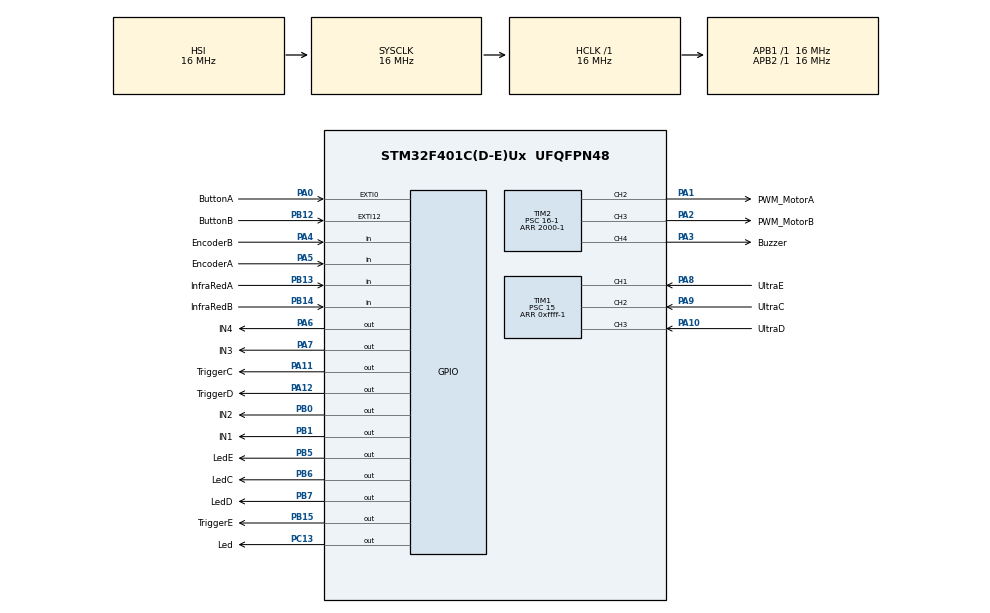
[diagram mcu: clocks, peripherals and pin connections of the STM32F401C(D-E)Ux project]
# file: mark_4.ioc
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FREERTOS.Tasks01=Estado1,3,128,StartEstado1,Default,NULL,Dynamic,NULL,NULL;Estado2,3,128,StartEstado2,Default,NULL,Dynamic,NULL,NULL;Estado3,3,128,StartEstado3,Default,NULL,Dynamic,NULL,NULL
FREERTOS.configUSE_NEWLIB_REENTRANT=1
Mcu.Family=STM32F4
Mcu.Name=STM32F401C(D-E)Ux
Mcu.Package=UFQFPN48
NVIC.EXTI0_IRQn=true\:5\:0\:false\:false\:true\:true\:true\:true\:true
NVIC.PriorityGroup=NVIC_PRIORITYGROUP_4
NVIC.TIM1_CC_IRQn=true\:5\:0\:false\:false\:true\:true\:true\:true\:true
NVIC.TIM3_IRQn=true\:15\:0\:false\:false\:true\:false\:false\:true\:true
NVIC.TimeBase=TIM3_IRQn
NVIC.TimeBaseIP=TIM3
PA0-WKUP.GPIO_Label=ButtonA
PA0-WKUP.GPIO_ModeDefaultEXTI=GPIO_MODE_IT_RISING
PA0-WKUP.Signal=GPXTI0
PA1.GPIO_Label=PWM_MotorA
PA1.Signal=S_TIM2_CH2
PA10.GPIO_Label=UltraD
PA10.Signal=S_TIM1_CH3
PA11.GPIO_Label=TriggerC
PA11.Signal=GPIO_Output
PA12.GPIO_Label=TriggerD
PA12.Signal=GPIO_Output
PA13.Mode=Serial_Wire
PA13.Signal=SYS_JTMS-SWDIO
PA14.Mode=Serial_Wire
PA14.Signal=SYS_JTCK-SWCLK
PA2.GPIO_Label=PWM_MotorB
PA2.Signal=S_TIM2_CH3
PA3.GPIO_Label=Buzzer
PA3.Signal=S_TIM2_CH4
PA4.GPIO_Label=EncoderB
PA4.GPIO_PuPd=GPIO_PULLDOWN
PA4.Signal=GPIO_Input
PA5.GPIO_Label=EncoderA
PA5.GPIO_PuPd=GPIO_PULLDOWN
PA5.Signal=GPIO_Input
PA6.GPIO_Label=IN4
PA6.Signal=GPIO_Output
PA7.GPIO_Label=IN3
PA7.Signal=GPIO_Output
PA8.GPIO_Label=UltraE
PA8.Signal=S_TIM1_CH1
PA9.GPIO_Label=UltraC
PA9.Signal=S_TIM1_CH2
PB0.GPIO_Label=IN2
PB0.Signal=GPIO_Output
PB1.GPIO_Label=IN1
PB1.Signal=GPIO_Output
PB12.GPIO_Label=ButtonB
PB12.GPIO_ModeDefaultEXTI=GPIO_MODE_IT_FALLING
PB12.GPIO_PuPd=GPIO_NOPULL
PB12.Signal=GPXTI12
PB13.GPIO_Label=InfraRedA
PB13.GPIO_PuPd=GPIO_PULLDOWN
PB13.Signal=GPIO_Input
PB14.GPIO_Label=InfraRedB
PB14.GPIO_PuPd=GPIO_PULLDOWN
PB14.Signal=GPIO_Input
PB15.GPIO_Label=TriggerE
PB15.Signal=GPIO_Output
PB5.GPIO_Label=LedE
PB5.Signal=GPIO_Output
PB6.GPIO_Label=LedC
PB6.Signal=GPIO_Output
PB7.GPIO_Label=LedD
PB7.Signal=GPIO_Output
PC13-ANTI_TAMP.GPIO_Label=Led
PC13-ANTI_TAMP.Signal=GPIO_Output
ProjectManager.HeapSize=0x200
ProjectManager.StackSize=0x400
ProjectManager.TargetToolchain=STM32CubeIDE
RCC.AHBFreq_Value=16000000
RCC.APB1Freq_Value=16000000
RCC.APB2Freq_Value=16000000
RCC.CortexFreq_Value=16000000
RCC.HSE_VALUE=25000000
RCC.HSI_VALUE=16000000
RCC.LSE_VALUE=32768
RCC.SYSCLKFreq_VALUE=16000000
RCC.VCOOutputFreq_Value=192000000
SH.S_TIM1_CH1.0=TIM1_CH1,Input_Capture1_from_TI1
SH.S_TIM1_CH2.0=TIM1_CH2,Input_Capture2_from_TI2
SH.S_TIM1_CH3.0=TIM1_CH3,Input_Capture3_from_TI3
SH.S_TIM2_CH2.0=TIM2_CH2,PWM Generation2 CH2
SH.S_TIM2_CH3.0=TIM2_CH3,PWM Generation3 CH3
SH.S_TIM2_CH4.0=TIM2_CH4,PWM Generation4 CH4
TIM1.Channel-Input_Capture1_from_TI1=TIM_CHANNEL_1
TIM1.Channel-Input_Capture2_from_TI2=TIM_CHANNEL_2
TIM1.Channel-Input_Capture3_from_TI3=TIM_CHANNEL_3
TIM1.Period=0xffff-1
TIM1.Prescaler=15
TIM2.Channel-PWM\ Generation2\ CH2=TIM_CHANNEL_2
TIM2.Channel-PWM\ Generation3\ CH3=TIM_CHANNEL_3
TIM2.Channel-PWM\ Generation4\ CH4=TIM_CHANNEL_4
TIM2.Period=2000-1
TIM2.Prescaler=16-1
VP_FREERTOS_VS_CMSIS_V1.Mode=CMSIS_V1
VP_SYS_VS_tim3.Mode=TIM3
VP_TIM2_VS_ClockSourceINT.Mode=Internal
board=custom

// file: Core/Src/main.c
/* USER CODE BEGIN Header */
/**
  ******************************************************************************
  * @file           : main.c
  * @brief          : Main program body
  ******************************************************************************
  * @attention
  *
  * Copyright (c) 2023 STMicroelectronics.
  * All rights reserved.
  *
  * This software is licensed under terms that can be found in the LICENSE file
  * in the root directory of this software component.
  * If no LICENSE file comes with this software, it is provided AS-IS.
  *
  ******************************************************************************
  */
/* USER CODE END Header */
#include "main.h"
#include "cmsis_os.h"
#include "MusicPlayer.h"

/* USER CODE BEGIN PD */

#define IN1_Pin  			GPIO_PIN_1
#define IN2_Pin  			GPIO_PIN_0
#define IN3_Pin  			GPIO_PIN_7
#define IN4_Pin 			GPIO_PIN_6
#define ButtonA_Pin    		GPIO_PIN_0
#define ButtonB_Pin    		GPIO_PIN_12
#define EncoderA_Pin    	GPIO_PIN_5
#define EncoderB_Pin    	GPIO_PIN_4
#define Led_Pin    			GPIO_PIN_13
#define TriggerE_Pin   		GPIO_PIN_15
#define TriggerC_Pin    	GPIO_PIN_11
#define TriggerD_Pin    	GPIO_PIN_12

#define LedE_Pin    		GPIO_PIN_5
#define LedC_Pin    		GPIO_PIN_6
#define LedD_Pin    		GPIO_PIN_7

#define IN12_GPIO_Port   	GPIOB
#define IN34_GPIO_Port   	GPIOA
#define ButtonA_GPIO_Port   GPIOA
#define ButtonB_GPIO_Port   GPIOB
#define EncoderA_GPIO_Port  GPIOA
#define EncoderB_GPIO_Port  GPIOA
#define Led_GPIO_Port    	GPIOC
#define TriggerE_GPIO_Port  GPIOB
#define TriggerC_GPIO_Port  GPIOA
#define TriggerD_GPIO_Port  GPIOA
#define LedD_GPIO_Port   	GPIOB
#define LedC_GPIO_Port    	GPIOB
#define LedE_GPIO_Port    	GPIOB

#define PWM_MotorA    		TIM_CHANNEL_2
#define PWM_MotorB    		TIM_CHANNEL_3
#define Buzzer    			TIM_CHANNEL_4

/* USER CODE END PD */

TIM_HandleTypeDef htim1;
TIM_HandleTypeDef htim2;

osThreadId Estado1Handle;
osThreadId Estado2Handle;
osThreadId Estado3Handle;
/* USER CODE BEGIN PV */

int melodia3[] =
{ b4f, b4f, a4f, a4f,
  f5, f5, e5f, b4f, b4f, a4f, a4f, e5f, e5f, c5s, c5, b4f,
  c5s, c5s, c5s, c5s,
  c5s, e5f, c5, b4f, a4f, a4f, a4f, e5f, c5s,
  b4f, b4f, a4f, a4f,
  f5,  f5, e5f, b4f, b4f, a4f, a4f, a5f, c5, c5s, c5, b4f,
  c5s, c5s, c5s, c5s,
  c5s, e5f, c5, b4f, a4f, rest, a4f, e5f, c5s, rest
};

int tempo3[]  =
{ 100, 100, 100, 100,
  300, 300, 800, 100, 100, 100, 100, 400, 400, 400, 100, 200,
  100, 100, 100, 100,
  300, 300, 300, 100, 200, 200, 200, 400, 800,
  100, 100, 100, 100,
  300, 300, 800, 100, 100, 100, 100, 400, 400, 300,  100, 200,
  100, 100, 100, 100,
  300, 300, 300, 100, 200, 200, 200, 400, 800, 40
};

	int melodia2[] = {

			a, a, a, f,
			cH, a, f, cH,
			a,
			eH, eH, eH,
			fH, cH, gS, f,
			cH, a,

			aH, a, a, aH,
			gSH, gH, fSH, fH,
			fSH,
			aS, dSH, dH, cSH,
			cH, bb, cH,

			f, gS, f, a, cH, eH,

			aH, a, a, aH,
			gSH, gH, fSH, fH,
			fSH,
			aS, dSH, dH, cSH,
			cH, bb, cH,

			f, gS, f, cH, a, f, cH, a, cH, a, a
	};

	// Star Wars Tempo

	int tempo2[] = {

			500, 500, 500, 350,
			150, 500, 350, 150,
			650,
			500, 500, 500,
			350, 150, 500, 350,
			150, 1000,

			500, 300, 150, 500,
			325, 175, 125, 125,
			500,
			250, 500, 325, 175,
			125, 125, 500,

			250, 500, 350, 125, 500, 375, 125, 650,

			500, 300, 150, 500,
			325, 175, 125, 125,
			500,
			250, 500, 325, 175,
			125, 125, 500,

			250, 500, 375, 125, 500, 375, 125, 1000, 125, 1000, 1000
	};

int aux, Start  = 0;
int isGoalA, isGoalB, ligaencoderE, ligaencoderD;

int estadoButtonA, estadoButtonB, estadoAnteriorA, estadoAnteriorB, estadoAtualA, estadoAtualB, estadoMotorA, estadoMotorB = 0;
int pulsoA, pulsoB, grausA, grausB, auxA, auxB = 0, pulsos_por_voltaA = 19, pulsos_por_voltaB = 19;

uint16_t dc = 0;

uint32_t IC_Val1E = 0;
uint32_t IC_Val2E = 0;//
uint32_t DifferenceE = 0;//
uint8_t Is_First_CapturedE = 0;  // is the first value captured ?x
uint8_t DistanceE  = 0;

uint32_t IC_Val1C = 0;
uint32_t IC_Val2C = 0;//
uint32_t DifferenceC = 0;//
uint8_t Is_First_CapturedC = 0;  // is the first value captured ?x
uint8_t DistanceC  = 0;

uint32_t IC_Val1D = 0;
uint32_t IC_Val2D = 0;//
uint32_t DifferenceD = 0;//
uint8_t Is_First_CapturedD = 0;  // is the first value captured ?x
uint8_t DistanceD  = 0;

/* USER CODE END PV */

void SystemClock_Config(void);
static void MX_GPIO_Init(void);
static void MX_TIM1_Init(void);
static void MX_TIM2_Init(void);
void StartEstado1(void const * argument);
void StartEstado2(void const * argument);
void StartEstado3(void const * argument);

/* USER CODE BEGIN PFP */

// Motor Direito
void dcA(){

	//TIM2->CCR4 = 375;
	  dc = 1010;
	  TIM2->CCR2 = dc;

}

// Motor Esquerdo
void dcB(){

	  dc = 1005;
	  TIM2->CCR3 = dc;

}

/* USER CODE END PFP */

/* USER CODE BEGIN 0 */

void delay (uint16_t time) {
	__HAL_TIM_SET_COUNTER(&htim1, 0);
	while (__HAL_TIM_GET_COUNTER(&htim1) < time);
}

void HAL_TIM_IC_CaptureCallback(TIM_HandleTypeDef *htim)
{
//ESRQUERDA
	if (htim->Channel == HAL_TIM_ACTIVE_CHANNEL_1)  // if the interrupt source is channel1
	{
		if (Is_First_CapturedE==0) // if the first value is not captured
		{
			IC_Val1E = HAL_TIM_ReadCapturedValue(htim, TIM_CHANNEL_1); // read the first value
			Is_First_CapturedE = 1;  // set the first captured as true
			// Now change the polarity to falling edge
			__HAL_TIM_SET_CAPTUREPOLARITY(htim, TIM_CHANNEL_1, TIM_INPUTCHANNELPOLARITY_FALLING);
		}

		else if (Is_First_CapturedE==1)   // if the first is already captured
		{
			IC_Val2E = HAL_TIM_ReadCapturedValue(htim, TIM_CHANNEL_1);  // read second value
			__HAL_TIM_SET_COUNTER(htim, 0);  // reset the counter

			if (IC_Val2E > IC_Val1E)
			{
				DifferenceE = IC_Val2E-IC_Val1E;
			}

			else if (IC_Val1E > IC_Val2E)
			{
				DifferenceE = (0xffff - IC_Val1E) + IC_Val2E;
			}

			DistanceE = DifferenceE * .034/2;
			Is_First_CapturedE = 0; // set it back to false

			// set polarity to rising edge
			__HAL_TIM_SET_CAPTUREPOLARITY(htim, TIM_CHANNEL_1, TIM_INPUTCHANNELPOLARITY_RISING);
			__HAL_TIM_DISABLE_IT(&htim1, TIM_IT_CC1);
		}
	}

//	CENTRAL

	if (htim->Channel == HAL_TIM_ACTIVE_CHANNEL_2)  // if the interrupt source is channel1
			{
				if (Is_First_CapturedC==0) // if the first value is not captured
				{
					IC_Val1C = HAL_TIM_ReadCapturedValue(htim, TIM_CHANNEL_2); // read the first value
					Is_First_CapturedC = 1;  // set the first captured as true
					// Now change the polarity to falling edge
					__HAL_TIM_SET_CAPTUREPOLARITY(htim, TIM_CHANNEL_2, TIM_INPUTCHANNELPOLARITY_FALLING);
				}

				else if (Is_First_CapturedC==1)   // if the first is already captured
				{
					IC_Val2C = HAL_TIM_ReadCapturedValue(htim, TIM_CHANNEL_2);  // read second value
					__HAL_TIM_SET_COUNTER(htim, 0);  // reset the counter

					if (IC_Val2C > IC_Val1C)
					{
						DifferenceC = IC_Val2C-IC_Val1C;
					}

					else if (IC_Val1C > IC_Val2C)
					{
						DifferenceC = (0xffff - IC_Val1C) + IC_Val2C;
					}

					DistanceC = DifferenceC * .034/2;
					Is_First_CapturedC = 0; // set it back to false

					// set polarity to rising edge
					__HAL_TIM_SET_CAPTUREPOLARITY(htim, TIM_CHANNEL_2, TIM_INPUTCHANNELPOLARITY_RISING);
					__HAL_TIM_DISABLE_IT(&htim1, TIM_IT_CC2);
				}
			}
//	DIREITA

	if (htim->Channel == HAL_TIM_ACTIVE_CHANNEL_3)  // if the interrupt source is channel1
				{
					if (Is_First_CapturedD==0) // if the first value is not captured
					{
						IC_Val1D = HAL_TIM_ReadCapturedValue(htim, TIM_CHANNEL_3); // read the first value
						Is_First_CapturedD = 1;  // set the first captured as true
						// Now change the polarity to falling edge
						__HAL_TIM_SET_CAPTUREPOLARITY(htim, TIM_CHANNEL_3, TIM_INPUTCHANNELPOLARITY_FALLING);
					}

					else if (Is_First_CapturedD==1)   // if the first is already captured
					{
						IC_Val2D = HAL_TIM_ReadCapturedValue(htim, TIM_CHANNEL_3);  // read second value
						__HAL_TIM_SET_COUNTER(htim, 0);  // reset the counter

						if (IC_Val2D > IC_Val1D)
						{
							DifferenceD = IC_Val2D-IC_Val1D;
						}

						else if (IC_Val1D > IC_Val2D)
						{
							DifferenceD = (0xffff - IC_Val1D) + IC_Val2D;
						}

						DistanceD = DifferenceD * .034/2;
						Is_First_CapturedD = 0; // set it back to false

						// set polarity to rising edge
						__HAL_TIM_SET_CAPTUREPOLARITY(htim, TIM_CHANNEL_3, TIM_INPUTCHANNELPOLARITY_RISING);
						__HAL_TIM_DISABLE_IT(&htim1, TIM_IT_CC3);
					}
				}

}

void HCSR04_ReadE (void)
{
//	ESQUERDO
	HAL_GPIO_WritePin(TriggerE_GPIO_Port, TriggerE_Pin, GPIO_PIN_SET);  // pull the TRIG pin HIGH
	delay(10);  // wait for 10 us
	HAL_GPIO_WritePin(TriggerE_GPIO_Port, TriggerE_Pin, GPIO_PIN_RESET);  // pull the TRIG pin low

	__HAL_TIM_ENABLE_IT(&htim1, TIM_IT_CC1);

}

void HCSR04_ReadC (void)
{

//	CENTRAL
	HAL_GPIO_WritePin(TriggerC_GPIO_Port, TriggerC_Pin, GPIO_PIN_SET);  // pull the TRIG pin HIGH
	delay(10);  // wait for 10 us
	HAL_GPIO_WritePin(TriggerC_GPIO_Port, TriggerC_Pin, GPIO_PIN_RESET);  // pull the TRIG pin low

	__HAL_TIM_ENABLE_IT(&htim1, TIM_IT_CC2);

}

void HCSR04_ReadD (void)
{

	//	Direito
	HAL_GPIO_WritePin(TriggerD_GPIO_Port, TriggerD_Pin, GPIO_PIN_SET);  // pull the TRIG pin HIGH
	delay(10);  // wait for 10 us
	HAL_GPIO_WritePin(TriggerD_GPIO_Port, TriggerD_Pin, GPIO_PIN_RESET);  // pull the TRIG pin low
	__HAL_TIM_ENABLE_IT(&htim1, TIM_IT_CC3);

}

/*
void Andar(void ){

	dcA();											 // PWM A - Direito
	dcB();											 // PWM B - Esquerdo
	HAL_GPIO_WritePin(IN12_GPIO_Port, IN2_Pin, SET); // Liga motor A - Direito
	HAL_GPIO_WritePin(IN34_GPIO_Port, IN4_Pin, SET); // Liga motor B - Esquerdo

	osDelay(200);

	HAL_GPIO_WritePin(IN12_GPIO_Port, IN2_Pin, RESET); // Desliga motor A - Direito
	HAL_GPIO_WritePin(IN34_GPIO_Port, IN4_Pin, RESET); // Desliga motor B - Esquerdo

	HAL_GPIO_WritePin(IN12_GPIO_Port, IN1_Pin, SET); // Liga motor A - Direito
	HAL_GPIO_WritePin(IN34_GPIO_Port, IN3_Pin, SET); // Liga motor B - Esquerdo

	osDelay(200);

	HAL_GPIO_WritePin(IN12_GPIO_Port, IN1_Pin, RESET); // Desliga motor A - Direito
	HAL_GPIO_WritePin(IN34_GPIO_Port, IN3_Pin, RESET); // Desliga motor B - Esquerdo

	osDelay(1);
}
*/

void ResetarMotor(){

	HAL_GPIO_WritePin(IN12_GPIO_Port, IN1_Pin, RESET);
	HAL_GPIO_WritePin(IN12_GPIO_Port, IN2_Pin, RESET);
	HAL_GPIO_WritePin(IN34_GPIO_Port, IN3_Pin, RESET);
	HAL_GPIO_WritePin(IN34_GPIO_Port, IN4_Pin, RESET);
	ligaencoderE=0;
	ligaencoderD=0;
}

void LigarMotorFrente(){

	dcA();											 // PWM A - Direito
	dcB();											 // PWM B - Esquerdo
	HAL_GPIO_WritePin(IN12_GPIO_Port, IN1_Pin, RESET);
	HAL_GPIO_WritePin(IN12_GPIO_Port, IN2_Pin, SET); // Liga motor A - Direito
	HAL_GPIO_WritePin(IN34_GPIO_Port, IN3_Pin, RESET);
	HAL_GPIO_WritePin(IN34_GPIO_Port, IN4_Pin, SET); // Liga motor B - Esquerdo
	ligaencoderE=0;
	ligaencoderD=0;
}

void LigarMotorRe(){

	dcA();											 // PWM A - Direito
	dcB();											 // PWM B - Esquerdo
	HAL_GPIO_WritePin(IN12_GPIO_Port, IN1_Pin, SET); // Liga motor A - Direito
	HAL_GPIO_WritePin(IN12_GPIO_Port, IN2_Pin, RESET);
	HAL_GPIO_WritePin(IN34_GPIO_Port, IN3_Pin, SET); // Liga motor B - Esquerdo
	HAL_GPIO_WritePin(IN34_GPIO_Port, IN4_Pin, RESET);
	ligaencoderE=0;
	ligaencoderD=0;
}

void VirarE(){

	dcA();											 // PWM A - Direito
	dcB();											 // PWM B - Esquerdo
	ligaencoderE = 1;
	HAL_GPIO_WritePin(IN12_GPIO_Port, IN1_Pin, RESET); // Liga motor A - Direito
	HAL_GPIO_WritePin(IN12_GPIO_Port, IN2_Pin, SET); // Liga motor A - Direito
	HAL_GPIO_WritePin(IN34_GPIO_Port, IN3_Pin, SET); // Liga motor B - Esquerdo
	HAL_GPIO_WritePin(IN34_GPIO_Port, IN4_Pin, RESET); // Liga motor B - Esquerdo

}

void VirarD(){

	dcA();											 // PWM A - Direito
	dcB();											 // PWM B - Esquerdo
	ligaencoderD = 1;
	HAL_GPIO_WritePin(IN12_GPIO_Port, IN1_Pin, SET); // Liga motor A - Direito
	HAL_GPIO_WritePin(IN12_GPIO_Port, IN2_Pin, RESET); // Liga motor A - Direito
	HAL_GPIO_WritePin(IN34_GPIO_Port, IN3_Pin, RESET); // Liga motor B - Esquerdo
	HAL_GPIO_WritePin(IN34_GPIO_Port, IN4_Pin, SET); // Liga motor B - Esquerdo

}

void EncoderD(){

	if (ligaencoderD == 1){
	estadoAnteriorA = estadoAtualA;
	  osDelay(1);

	  if(HAL_GPIO_ReadPin(EncoderA_GPIO_Port,EncoderA_Pin) == GPIO_PIN_SET){
		  estadoAtualA = 0;

	  }else if(HAL_GPIO_ReadPin(EncoderA_GPIO_Port,EncoderA_Pin) == GPIO_PIN_RESET){
		  estadoAtualA = 1;
	  }

	  if(estadoAtualA != estadoAnteriorA){
		  pulsoA++;

	  }

	  if(pulsoA == pulsos_por_voltaA){

		  HAL_GPIO_TogglePin(LedD_GPIO_Port, LedD_Pin);
		  pulsoA = 0;
		  grausA = 1;
		  osDelay(1);
	  }

	  osDelay(1);
	}
}

void EncoderE(){

	if (ligaencoderE == 1){
	  estadoAnteriorB = estadoAtualB;
	  osDelay(1);

	  if(HAL_GPIO_ReadPin(EncoderB_GPIO_Port,EncoderB_Pin) == GPIO_PIN_SET){
		  estadoAtualB = 0;

	  }else if(HAL_GPIO_ReadPin(EncoderB_GPIO_Port,EncoderB_Pin) == GPIO_PIN_RESET){
	  	  estadoAtualB = 1;
	  }

	  if(estadoAtualB != estadoAnteriorB){
		  pulsoB++;

	  }

	  if(pulsoB == pulsos_por_voltaB){

		  HAL_GPIO_TogglePin(LedE_GPIO_Port, LedE_Pin);
		  pulsoB = 0;
		  grausB = 1;
		  osDelay(1);
	  }

  osDelay(1);
	}
}

/* Interrupção Externa (Falling Edge): Incrementa contador do Encoder */
//void HAL_GPIO_EXTI_Callback(uint16_t GPIO_Pin) {
//
//	if (GPIO_Pin == ButtonA_Pin){
//	//	Start = !Start;
//		HAL_GPIO_TogglePin(LedC_GPIO_Port, LedC_Pin);
//	}
//
////	if (GPIO_Pin == EncoderA_Pin){
////		pulsoA++;
//////		HAL_GPIO_TogglePin(LedD_GPIO_Port, LedD_Pin);
////
////	}
////	if (GPIO_Pin == EncoderB_Pin){
//////		HAL_GPIO_TogglePin(LedE_GPIO_Port, LedE_Pin);
////		pulsoB++;
////
////	}
//	else{
//		__NOP ();
//	}
//}

//void volta (){
//
//
//
//
//
//}
/* USER CODE END 0 */

int main(void)
{

  /* MCU Configuration--------------------------------------------------------*/

  /* Reset of all peripherals, Initializes the Flash interface and the Systick. */
  HAL_Init();

  /* Configure the system clock */
  SystemClock_Config();

  /* Initialize all configured peripherals */
  MX_GPIO_Init();
  MX_TIM1_Init();
  MX_TIM2_Init();
  /* USER CODE BEGIN 2 */

  HAL_TIM_PWM_Start(&htim2, PWM_MotorA);
  HAL_TIM_PWM_Start(&htim2, PWM_MotorB);
  HAL_TIM_PWM_Start(&htim2, Buzzer);

  HAL_TIM_IC_Start_IT(&htim1, TIM_CHANNEL_1);
  HAL_TIM_IC_Start_IT(&htim1, TIM_CHANNEL_2);
  HAL_TIM_IC_Start_IT(&htim1, TIM_CHANNEL_3);
  /* USER CODE END 2 */

  /* Create the thread(s) */
  /* definition and creation of Estado1 */
  osThreadDef(Estado1, StartEstado1, osPriorityRealtime, 0, 128);
  Estado1Handle = osThreadCreate(osThread(Estado1), NULL);

  /* definition and creation of Estado2 */
  osThreadDef(Estado2, StartEstado2, osPriorityRealtime, 0, 128);
  Estado2Handle = osThreadCreate(osThread(Estado2), NULL);

  /* definition and creation of Estado3 */
  osThreadDef(Estado3, StartEstado3, osPriorityRealtime, 0, 128);
  Estado3Handle = osThreadCreate(osThread(Estado3), NULL);

  /* Start scheduler */
  osKernelStart();
  /* We should never get here as control is now taken by the scheduler */
  /* Infinite loop */
  while (1)
  {

  }
}

void SystemClock_Config(void)
{
  RCC_OscInitTypeDef RCC_OscInitStruct = {0};
  RCC_ClkInitTypeDef RCC_ClkInitStruct = {0};

  /** Configure the main internal regulator output voltage
  */
  __HAL_RCC_PWR_CLK_ENABLE();
  __HAL_PWR_VOLTAGESCALING_CONFIG(PWR_REGULATOR_VOLTAGE_SCALE2);

  /** Initializes the RCC Oscillators according to the specified parameters
  * in the RCC_OscInitTypeDef structure.
  */
  RCC_OscInitStruct.OscillatorType = RCC_OSCILLATORTYPE_HSI;
  RCC_OscInitStruct.HSIState = RCC_HSI_ON;
  RCC_OscInitStruct.HSICalibrationValue = RCC_HSICALIBRATION_DEFAULT;
  RCC_OscInitStruct.PLL.PLLState = RCC_PLL_NONE;
  if (HAL_RCC_OscConfig(&RCC_OscInitStruct) != HAL_OK)
  {
    Error_Handler();
  }

  /** Initializes the CPU, AHB and APB buses clocks
  */
  RCC_ClkInitStruct.ClockType = RCC_CLOCKTYPE_HCLK|RCC_CLOCKTYPE_SYSCLK
                              |RCC_CLOCKTYPE_PCLK1|RCC_CLOCKTYPE_PCLK2;
  RCC_ClkInitStruct.SYSCLKSource = RCC_SYSCLKSOURCE_HSI;
  RCC_ClkInitStruct.AHBCLKDivider = RCC_SYSCLK_DIV1;
  RCC_ClkInitStruct.APB1CLKDivider = RCC_HCLK_DIV1;
  RCC_ClkInitStruct.APB2CLKDivider = RCC_HCLK_DIV1;

  if (HAL_RCC_ClockConfig(&RCC_ClkInitStruct, FLASH_LATENCY_0) != HAL_OK)
  {
    Error_Handler();
  }
}

static void MX_TIM1_Init(void)
{

  TIM_MasterConfigTypeDef sMasterConfig = {0};
  TIM_IC_InitTypeDef sConfigIC = {0};

  htim1.Instance = TIM1;
  htim1.Init.Prescaler = 15;
  htim1.Init.CounterMode = TIM_COUNTERMODE_UP;
  htim1.Init.Period = 0xffff-1;
  htim1.Init.ClockDivision = TIM_CLOCKDIVISION_DIV1;
  htim1.Init.RepetitionCounter = 0;
  htim1.Init.AutoReloadPreload = TIM_AUTORELOAD_PRELOAD_DISABLE;
  if (HAL_TIM_IC_Init(&htim1) != HAL_OK)
  {
    Error_Handler();
  }
  sMasterConfig.MasterOutputTrigger = TIM_TRGO_RESET;
  sMasterConfig.MasterSlaveMode = TIM_MASTERSLAVEMODE_DISABLE;
  if (HAL_TIMEx_MasterConfigSynchronization(&htim1, &sMasterConfig) != HAL_OK)
  {
    Error_Handler();
  }
  sConfigIC.ICPolarity = TIM_INPUTCHANNELPOLARITY_RISING;
  sConfigIC.ICSelection = TIM_ICSELECTION_DIRECTTI;
  sConfigIC.ICPrescaler = TIM_ICPSC_DIV1;
  sConfigIC.ICFilter = 0;
  if (HAL_TIM_IC_ConfigChannel(&htim1, &sConfigIC, TIM_CHANNEL_1) != HAL_OK)
  {
    Error_Handler();
  }
  if (HAL_TIM_IC_ConfigChannel(&htim1, &sConfigIC, TIM_CHANNEL_2) != HAL_OK)
  {
    Error_Handler();
  }
  if (HAL_TIM_IC_ConfigChannel(&htim1, &sConfigIC, TIM_CHANNEL_3) != HAL_OK)
  {
    Error_Handler();
  }

}

static void MX_TIM2_Init(void)
{

  TIM_ClockConfigTypeDef sClockSourceConfig = {0};
  TIM_MasterConfigTypeDef sMasterConfig = {0};
  TIM_OC_InitTypeDef sConfigOC = {0};

  htim2.Instance = TIM2;
  htim2.Init.Prescaler = 16-1;
  htim2.Init.CounterMode = TIM_COUNTERMODE_UP;
  htim2.Init.Period = 2000-1;
  htim2.Init.ClockDivision = TIM_CLOCKDIVISION_DIV1;
  htim2.Init.AutoReloadPreload = TIM_AUTORELOAD_PRELOAD_DISABLE;
  if (HAL_TIM_Base_Init(&htim2) != HAL_OK)
  {
    Error_Handler();
  }
  sClockSourceConfig.ClockSource = TIM_CLOCKSOURCE_INTERNAL;
  if (HAL_TIM_ConfigClockSource(&htim2, &sClockSourceConfig) != HAL_OK)
  {
    Error_Handler();
  }
  if (HAL_TIM_PWM_Init(&htim2) != HAL_OK)
  {
    Error_Handler();
  }
  sMasterConfig.MasterOutputTrigger = TIM_TRGO_RESET;
  sMasterConfig.MasterSlaveMode = TIM_MASTERSLAVEMODE_DISABLE;
  if (HAL_TIMEx_MasterConfigSynchronization(&htim2, &sMasterConfig) != HAL_OK)
  {
    Error_Handler();
  }
  sConfigOC.OCMode = TIM_OCMODE_PWM1;
  sConfigOC.Pulse = 0;
  sConfigOC.OCPolarity = TIM_OCPOLARITY_HIGH;
  sConfigOC.OCFastMode = TIM_OCFAST_DISABLE;
  if (HAL_TIM_PWM_ConfigChannel(&htim2, &sConfigOC, TIM_CHANNEL_2) != HAL_OK)
  {
    Error_Handler();
  }
  if (HAL_TIM_PWM_ConfigChannel(&htim2, &sConfigOC, TIM_CHANNEL_3) != HAL_OK)
  {
    Error_Handler();
  }
  if (HAL_TIM_PWM_ConfigChannel(&htim2, &sConfigOC, TIM_CHANNEL_4) != HAL_OK)
  {
    Error_Handler();
  }
  HAL_TIM_MspPostInit(&htim2);

}

static void MX_GPIO_Init(void)
{
  GPIO_InitTypeDef GPIO_InitStruct = {0};

  /* GPIO Ports Clock Enable */
  __HAL_RCC_GPIOC_CLK_ENABLE();
  __HAL_RCC_GPIOA_CLK_ENABLE();
  __HAL_RCC_GPIOB_CLK_ENABLE();

  /*Configure GPIO pin Output Level */
  HAL_GPIO_WritePin(Led_GPIO_Port, Led_Pin, GPIO_PIN_RESET);

  /*Configure GPIO pin Output Level */
  HAL_GPIO_WritePin(GPIOA, IN4_Pin|IN3_Pin|TriggerC_Pin|TriggerD_Pin, GPIO_PIN_RESET);

  /*Configure GPIO pin Output Level */
  HAL_GPIO_WritePin(GPIOB, IN2_Pin|IN1_Pin|TriggerE_Pin|LedE_Pin
                          |LedC_Pin|LedD_Pin, GPIO_PIN_RESET);

  /*Configure GPIO pin : Led_Pin */
  GPIO_InitStruct.Pin = Led_Pin;
  GPIO_InitStruct.Mode = GPIO_MODE_OUTPUT_PP;
  GPIO_InitStruct.Pull = GPIO_NOPULL;
  GPIO_InitStruct.Speed = GPIO_SPEED_FREQ_LOW;
  HAL_GPIO_Init(Led_GPIO_Port, &GPIO_InitStruct);

  /*Configure GPIO pin : ButtonA_Pin */
  GPIO_InitStruct.Pin = ButtonA_Pin;
  GPIO_InitStruct.Mode = GPIO_MODE_IT_RISING;
  GPIO_InitStruct.Pull = GPIO_NOPULL;
  HAL_GPIO_Init(ButtonA_GPIO_Port, &GPIO_InitStruct);

  /*Configure GPIO pins : EncoderB_Pin EncoderA_Pin */
  GPIO_InitStruct.Pin = EncoderB_Pin|EncoderA_Pin;
  GPIO_InitStruct.Mode = GPIO_MODE_INPUT;
  GPIO_InitStruct.Pull = GPIO_PULLDOWN;
  HAL_GPIO_Init(GPIOA, &GPIO_InitStruct);

  /*Configure GPIO pins : IN4_Pin IN3_Pin TriggerC_Pin TriggerD_Pin */
  GPIO_InitStruct.Pin = IN4_Pin|IN3_Pin|TriggerC_Pin|TriggerD_Pin;
  GPIO_InitStruct.Mode = GPIO_MODE_OUTPUT_PP;
  GPIO_InitStruct.Pull = GPIO_NOPULL;
  GPIO_InitStruct.Speed = GPIO_SPEED_FREQ_LOW;
  HAL_GPIO_Init(GPIOA, &GPIO_InitStruct);

  /*Configure GPIO pins : IN2_Pin IN1_Pin TriggerE_Pin LedE_Pin
                           LedC_Pin LedD_Pin */
  GPIO_InitStruct.Pin = IN2_Pin|IN1_Pin|TriggerE_Pin|LedE_Pin
                          |LedC_Pin|LedD_Pin;
  GPIO_InitStruct.Mode = GPIO_MODE_OUTPUT_PP;
  GPIO_InitStruct.Pull = GPIO_NOPULL;
  GPIO_InitStruct.Speed = GPIO_SPEED_FREQ_LOW;
  HAL_GPIO_Init(GPIOB, &GPIO_InitStruct);

  /*Configure GPIO pin : ButtonB_Pin */
  GPIO_InitStruct.Pin = ButtonB_Pin;
  GPIO_InitStruct.Mode = GPIO_MODE_IT_FALLING;
  GPIO_InitStruct.Pull = GPIO_NOPULL;
  HAL_GPIO_Init(ButtonB_GPIO_Port, &GPIO_InitStruct);

  /*Configure GPIO pins : InfraRedA_Pin InfraRedB_Pin */
  GPIO_InitStruct.Pin = InfraRedA_Pin|InfraRedB_Pin;
  GPIO_InitStruct.Mode = GPIO_MODE_INPUT;
  GPIO_InitStruct.Pull = GPIO_PULLDOWN;
  HAL_GPIO_Init(GPIOB, &GPIO_InitStruct);

  /* EXTI interrupt init*/
  HAL_NVIC_SetPriority(EXTI0_IRQn, 5, 0);
  HAL_NVIC_EnableIRQ(EXTI0_IRQn);

}

void StartEstado1(void const * argument)
{
  /* USER CODE BEGIN 5 */
  /* Infinite loop */
  for(;;)
  {

	  HCSR04_ReadC();
//	  HCSR04_ReadD();
//	  HCSR04_ReadE();

    osDelay(20);
  }
  /* USER CODE END 5 */
}

void StartEstado2(void const * argument)
{
  /* USER CODE BEGIN StartEstado2 */
  /* Infinite loop */
  for(;;)
  {
	  if(HAL_GPIO_ReadPin(ButtonB_GPIO_Port, ButtonB_Pin)==0){

		  if(isGoalA !=1){//aqui ele nao encontrou o objetivo
			  HAL_GPIO_TogglePin(LedC_GPIO_Port, LedC_Pin);

			  if (DistanceC >= 20) {

					  LigarMotorFrente();
					 osDelay(1);

			  }
			  if  (DistanceC < 20) {

	//				  HAL_GPIO_WritePin(LedC_GPIO_Port, LedC_Pin, GPIO_PIN_RESET);
					  aux = 0;
					  ResetarMotor();
					  VirarE();
					  osDelay(500);

					  if (grausA ==1){
						  ResetarMotor();
						  osDelay(500);
						  grausA=0;
					}

			  }

		  }else{

		//		  HAL_GPIO_TogglePin(Led_GPIO_Port, Led_Pin);
				  HAL_GPIO_TogglePin(LedE_GPIO_Port, LedE_Pin);
//				  ResetarMotor();
				  osDelay(500);

			  if (isGoalB==1){

				  HAL_GPIO_TogglePin(LedD_GPIO_Port, LedD_Pin);
				  ResetarMotor();
				  int DimensionMusical3 = sizeof(melodia3)/sizeof(melodia3[0]);
				  for (int i = 0; i< DimensionMusical3; i++){

				  	TIM2->CCR4 = melodia3[i];
				  	osDelay(tempo3[i]);
				  	TIM2->CCR4 = 0;
				  	osDelay(40);

				  }

				  osDelay(500);

			  }

		  }
  }else if(HAL_GPIO_ReadPin(ButtonB_GPIO_Port, ButtonB_Pin)==1){

	  LigarMotorFrente();
	  osDelay(600);
	  LigarMotorRe();
	  osDelay(600);
	  ResetarMotor();

  }

  /* USER CODE END StartEstado2 */
}
}

void StartEstado3(void const * argument)
{
//	essa task vai ler o encoder
  /* USER CODE BEGIN StartEstado3 */
  /* Infinite loop */
  for(;;)
  {

	  if(HAL_GPIO_ReadPin(InfraRedA_GPIO_Port, InfraRedA_Pin)==0){
//		  HAL_GPIO_WritePin(LedD_GPIO_Port, LedD_Pin, GPIO_PIN_RESET);
		  isGoalA=0;

	  }else{

//		  HAL_GPIO_WritePin(LedD_GPIO_Port, LedD_Pin, GPIO_PIN_SET);
		  isGoalA=1;
	  }

//	  infraRedB é o de tras

	  if(HAL_GPIO_ReadPin(InfraRedB_GPIO_Port, InfraRedB_Pin)==0){
//	  		  HAL_GPIO_WritePin(LedE_GPIO_Port, LedE_Pin, GPIO_PIN_RESET);
	  		isGoalB=0;

	  	  }else{

//	  		  HAL_GPIO_WritePin(LedE_GPIO_Port, LedE_Pin, GPIO_PIN_SET);
	  		isGoalB=1;
	  	  }

    osDelay(100);
  }
  /* USER CODE END StartEstado3 */
}

void HAL_TIM_PeriodElapsedCallback(TIM_HandleTypeDef *htim)
{
  if (htim->Instance == TIM3) {
    HAL_IncTick();
  }
}

void Error_Handler(void)
{
  __disable_irq();
  while (1)
  {
  }
}
